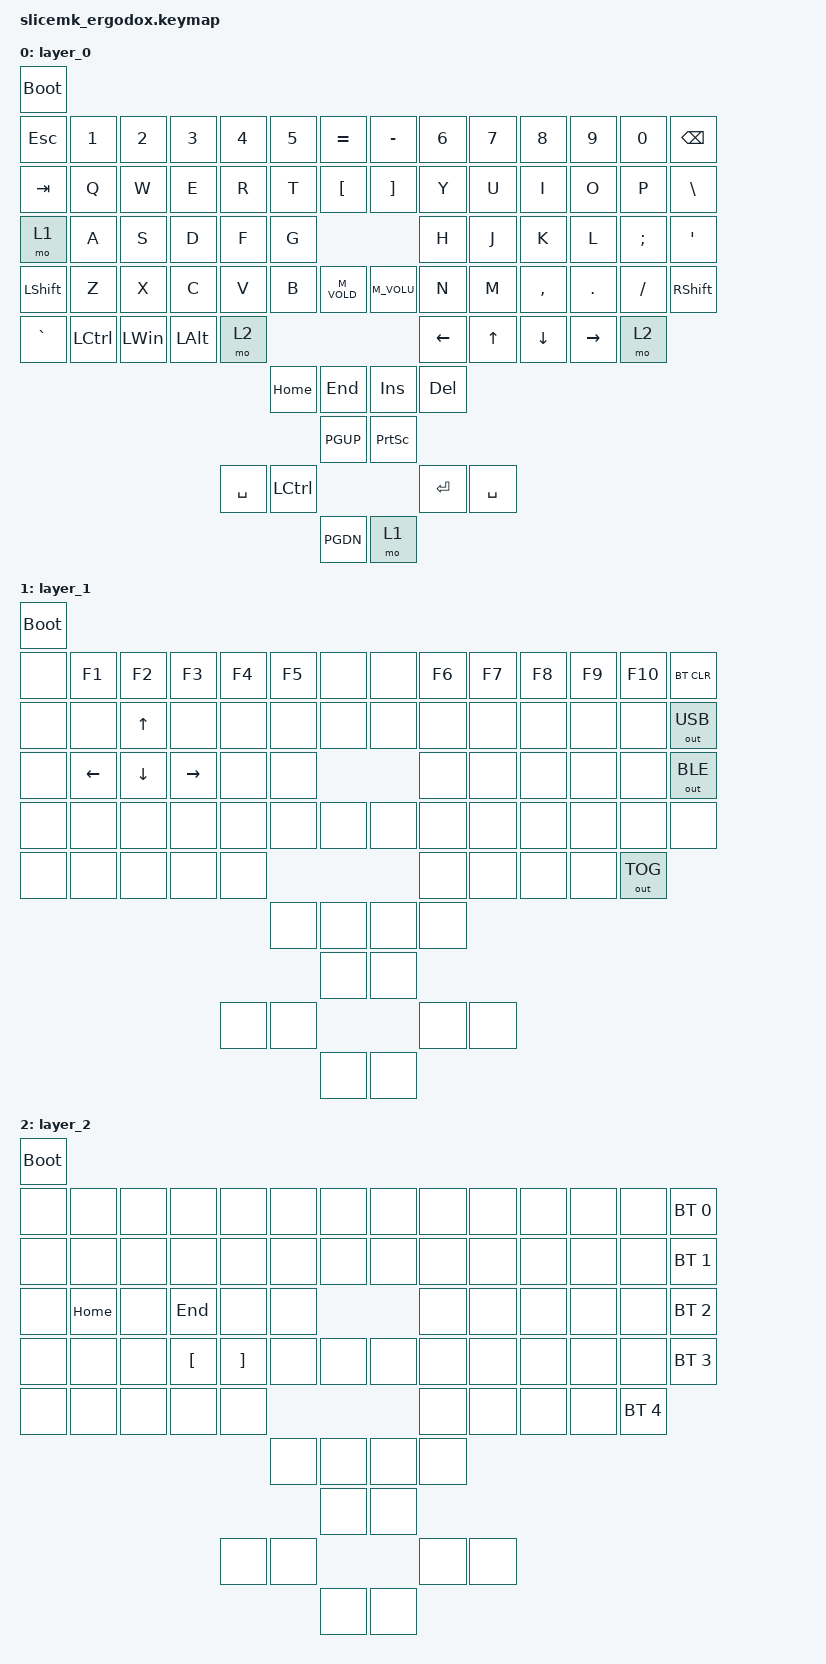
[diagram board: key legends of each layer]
#include <behaviors.dtsi>
#include <dt-bindings/zmk/bt.h>
#include <dt-bindings/zmk/keys.h>
#include <dt-bindings/zmk/outputs.h>

/ {
        keymap {
                compatible = "zmk,keymap";

                layer_0 {
                        bindings = <
    &bootloader
    &kp ESC    &kp NUM_1  &kp NUM_2  &kp NUM_3  &kp NUM_4  &kp NUM_5  &kp EQUAL  &kp MINUS  &kp NUM_6  &kp NUM_7  &kp NUM_8  &kp NUM_9  &kp NUM_0  &kp BSPC
    &kp TAB    &kp Q      &kp W      &kp E      &kp R      &kp T      &kp LBKT   &kp RBKT   &kp Y      &kp U      &kp I      &kp O      &kp P      &kp BSLH
    &mo 1      &kp A      &kp S      &kp D      &kp F      &kp G                            &kp H      &kp J      &kp K      &kp L      &kp SEMI   &kp SQT
    &kp LSHFT  &kp Z      &kp X      &kp C      &kp V      &kp B      &kp M_VOLD &kp M_VOLU &kp N      &kp M      &kp COMMA  &kp DOT    &kp FSLH   &kp RSHFT
    &kp GRAVE  &kp LCTRL  &kp LWIN   &kp LALT   &mo 2                                       &kp LEFT   &kp UP     &kp DOWN   &kp RIGHT  &mo 2
                                                           &kp HOME   &kp END    &kp INS    &kp DEL
                                                                      &kp PGUP   &kp PSCRN
                                                &kp SPC    &kp LCTRL                        &kp RET    &kp SPC
                                                                      &kp PGDN   &mo 1
                        >;
                };

                layer_1 {
                        bindings = <
    &bootloader
    &none      &kp F1     &kp F2     &kp F3     &kp F4     &kp F5     &none      &none      &kp F6     &kp F7     &kp F8     &kp F9     &kp F10    &bt BT_CLR
    &none      &none      &kp UP     &none      &none      &none      &none      &none      &none      &none      &none      &none      &none      &out OUT_USB
    &none      &kp LEFT   &kp DOWN   &kp RIGHT  &none      &none                            &none      &none      &none      &none      &none      &out OUT_BLE
    &none      &none      &none      &none      &none      &none      &none      &none      &none      &none      &none      &none      &none      &none
    &none      &none      &none      &none      &none                                                  &none      &none      &none      &none      &out OUT_TOG
                                                           &none      &none      &none      &none
                                                                      &none      &none
                                                &none      &none                            &none      &none
                                                                      &none      &none
                        >;
                };

                layer_2 {
                        bindings = <
    &bootloader
    &none      &none      &none      &none      &none      &none      &none      &none      &none      &none      &none      &none      &none      &bt BT_SEL 0
    &none      &none      &none      &none      &none      &none      &none      &none      &none      &none      &none      &none      &none      &bt BT_SEL 1
    &none      &kp HOME   &none      &kp END    &none      &none                            &none      &none      &none      &none      &none      &bt BT_SEL 2
    &none      &none      &none      &kp LBKT   &kp RBKT   &none      &none      &none      &none      &none      &none      &none      &none      &bt BT_SEL 3
    &none      &none      &none      &none      &none                                                  &none      &none      &none      &none      &bt BT_SEL 4
                                                           &none      &none      &none      &none
                                                                      &none      &none
                                                &none      &none                            &none      &none
                                                                      &none      &none
                        >;
                };

        };
};
